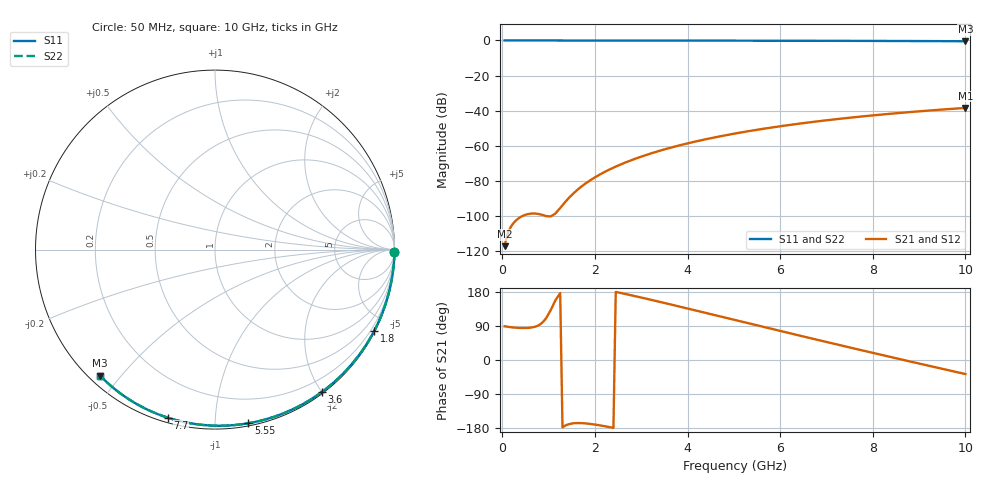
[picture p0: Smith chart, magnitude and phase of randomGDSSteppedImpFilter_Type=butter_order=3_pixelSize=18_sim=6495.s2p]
! freq	dB(S11)	phase(S11)	dB(S12)	phase(S12)
!  dB(S21)	phase(S21)	dB(S22)	phase(S22)
!S-par simulation data
#  GHz  S  DB  R 50
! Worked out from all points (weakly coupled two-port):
!   200 points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, 50 MHz to 10 GHz, reference 50 ohm
!   highest |S21| = -38.45 dB at 10 GHz (marker M1); lowest = -117.3 dB at 50 MHz (marker M2)
!   lowest |S11| = -0.4 dB at 10 GHz (marker M3), VSWR 39.30, Z = 1.52 - j22.1 ohm
!   |S11| at or under -10 dB: nowhere
!   |S22| runs from -0.4 to 0.0 dB; largest |S21 - S12| = 0
!   S11 on the Smith chart (normalised r, x): 50 MHz: open; 1.8 GHz: 0.04, -4.15; 3.6 GHz: 0.02, -2.01; 5.55 GHz: 0.02, -1.21; 7.7 GHz: 0.02, -0.76; 10 GHz: 0.03, -0.44
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0.05  -0.00 -0.8  -117.27 89.0  -117.27 89.0  -0.00 -0.8
0.9  -0.02 -13.7  -99.76 103.3  -99.76 103.3  -0.02 -13.7
1.75  -0.03 -26.4  -82.45 -166.9  -82.45 -166.9  -0.03 -26.4
1.8  -0.03 -27.1  -81.48 -167.3  -81.48 -167.3  -0.03 -27.1
1.85  -0.04 -27.8  -80.57 -167.9  -80.57 -167.9  -0.04 -27.8
1.9  -0.04 -28.6  -79.69 -168.6  -79.69 -168.6  -0.04 -28.6
2.05  -0.04 -30.8  -77.27 -171.3  -77.27 -171.3  -0.04 -30.8
2.25  -0.04 -33.7  -74.42 -175.6  -74.42 -175.6  -0.04 -33.7
2.45  -0.05 -36.6  -71.91 179.6  -71.91 179.6  -0.05 -36.6
2.65  -0.05 -39.5  -69.66 174.4  -69.66 174.4  -0.05 -39.5
3  -0.06 -44.5  -66.22 164.8  -66.22 164.8  -0.06 -44.5
3.4  -0.07 -50.2  -62.87 153.4  -62.87 153.4  -0.07 -50.2
3.6  -0.07 -53.0  -61.37 147.6  -61.37 147.6  -0.07 -53.0
4.3  -0.09 -62.6  -56.85 127.1  -56.85 127.1  -0.09 -62.6
5.05  -0.11 -72.6  -52.93 104.8  -52.93 104.8  -0.11 -72.6
5.55  -0.13 -79.2  -50.70 90.0  -50.70 90.0  -0.13 -79.1
6.1  -0.15 -86.2  -48.54 73.8  -48.54 73.8  -0.15 -86.1
6.7  -0.18 -93.6  -46.45 56.3  -46.45 56.3  -0.18 -93.6
7.7  -0.24 -105.7  -43.50 27.4  -43.50 27.4  -0.24 -105.7
8.35  -0.29 -113.4  -41.85 8.9  -41.85 8.9  -0.29 -113.3
9.15  -0.36 -122.6  -40.08 -13.6  -40.08 -13.6  -0.36 -122.6
10  -0.44 -132.3  -38.45 -37.1  -38.45 -37.1  -0.44 -132.3
